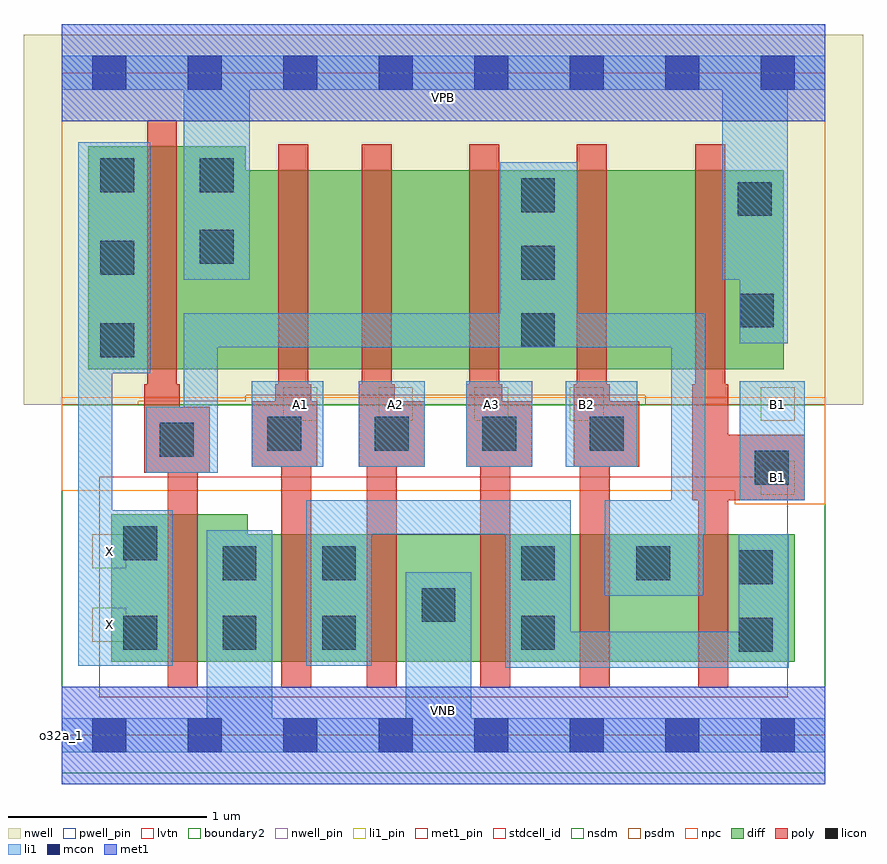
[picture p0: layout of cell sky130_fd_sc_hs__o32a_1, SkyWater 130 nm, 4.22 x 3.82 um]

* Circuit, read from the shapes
.subckt sky130_fd_sc_hs__o32a_1 A1 A2 A3 B1 B2 VGND VNB VPB VPWR X
XM1 VGND n1 X VNB sky130_fd_pr__nfet_01v8_lvt w=0.74 l=0.15
XM2 n2 A1 VGND VNB sky130_fd_pr__nfet_01v8_lvt w=0.64 l=0.15
XM3 VGND A2 n2 VNB sky130_fd_pr__nfet_01v8_lvt w=0.64 l=0.15
XM4 n2 A3 VGND VNB sky130_fd_pr__nfet_01v8_lvt w=0.64 l=0.15
XM5 n1 B2 n2 VNB sky130_fd_pr__nfet_01v8_lvt w=0.64 l=0.15
XM6 n2 B1 n1 VNB sky130_fd_pr__nfet_01v8_lvt w=0.64 l=0.15
XM7 VPWR n1 X VPB sky130_fd_pr__pfet_01v8 w=1.12 l=0.15
XM8 n3 A1 VPWR VPB sky130_fd_pr__pfet_01v8 w=1 l=0.15
XM9 n4 A2 n3 VPB sky130_fd_pr__pfet_01v8 w=1 l=0.15
XM10 n1 A3 n4 VPB sky130_fd_pr__pfet_01v8 w=1 l=0.15
XM11 n5 B2 n1 VPB sky130_fd_pr__pfet_01v8 w=1 l=0.15
XM12 VPWR B1 n5 VPB sky130_fd_pr__pfet_01v8 w=1 l=0.15
.ends

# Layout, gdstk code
import gdstk
lib = gdstk.Library(unit=1e-6, precision=1e-09)
def R(c, l, rs):  # rectangles x0, y0, x1, y1
    for r in rs: c.add(gdstk.rectangle(r[:2], r[2:], *l))
def A(c, l, x, y, w, h, nx, ny, dx, dy):  # array of equal rectangles
    R(c, l, [(x+i*dx, y+j*dy, x+i*dx+w, y+j*dy+h) for i in range(nx) for j in range(ny)])
def P(c, l, *ps):  # polygons
    for p in ps: c.add(gdstk.Polygon(p, *l))
nwell_pin = (64, 16)
nwell = (64, 20)
diff = (65, 20)
poly = (66, 20)
licon = (66, 44)
li1_pin = (67, 16)
li1 = (67, 20)
mcon = (67, 44)
met1_pin = (68, 16)
met1 = (68, 20)
stdcell_id = (81, 4)
nsdm = (93, 44)
psdm = (94, 20)
npc = (95, 20)
pwell_pin = (122, 16)
lvtn = (125, 44)
boundary2 = (236, 0)

sky130_fd_sc_hs__o32a_1 = lib.new_cell('sky130_fd_sc_hs__o32a_1')
R(sky130_fd_sc_hs__o32a_1, nwell_pin, [(0,3.085,3.84,3.33)])
R(sky130_fd_sc_hs__o32a_1, nwell, [(-0.19,1.66,4.03,3.52)])
P(sky130_fd_sc_hs__o32a_1, diff, [(3.63,2.84),(0.925,2.84),(0.925,2.96),(0.135,2.96),(0.135,1.84),(3.63,1.84)],
  [(3.685,1.01),(0.935,1.01),(0.935,1.11),(0.25,1.11),(0.25,0.37),(3.685,0.37)])
P(sky130_fd_sc_hs__o32a_1, poly, [(1.285,1.68),(1.255,1.68),(1.255,1.765),(1.24,1.765),(1.24,2.97),(1.09,2.97),(1.09,1.765),(1.075,1.765),(1.075,1.68),(0.955,1.68),(0.955,1.35),(1.105,1.35),(1.105,0.24),(1.255,0.24),(1.255,1.35),(1.285,1.35)],
  [(0.745,1.65),(0.595,1.65),(0.595,1.765),(0.58,1.765),(0.58,3.09),(0.43,3.09),(0.43,1.765),(0.415,1.765),(0.415,1.32),(0.535,1.32),(0.535,0.24),(0.685,0.24),(0.685,1.32),(0.745,1.32)],
  [(1.825,1.68),(1.675,1.68),(1.675,1.765),(1.66,1.765),(1.66,2.97),(1.51,2.97),(1.51,1.765),(1.495,1.765),(1.495,1.35),(1.535,1.35),(1.535,0.24),(1.685,0.24),(1.685,1.35),(1.825,1.35)],
  [(2.365,1.68),(2.215,1.68),(2.215,1.765),(2.2,1.765),(2.2,2.97),(2.05,2.97),(2.05,1.765),(2.035,1.765),(2.035,1.35),(2.105,1.35),(2.105,0.24),(2.255,0.24),(2.255,1.35),(2.365,1.35)],
  [(2.905,1.68),(2.755,1.68),(2.755,1.765),(2.74,1.765),(2.74,2.97),(2.59,2.97),(2.59,1.765),(2.575,1.765),(2.575,1.35),(2.605,1.35),(2.605,0.24),(2.755,0.24),(2.755,1.35),(2.905,1.35)],
  [(3.735,1.51),(3.35,1.51),(3.35,1.765),(3.335,1.765),(3.335,2.97),(3.185,2.97),(3.185,1.765),(3.17,1.765),(3.17,1.18),(3.2,1.18),(3.2,0.24),(3.35,0.24),(3.35,1.18),(3.735,1.18)])
A(sky130_fd_sc_hs__o32a_1, licon, 0.31, 0.43, 0.17, 0.17, 3, 1, 0.5, 0)
A(sky130_fd_sc_hs__o32a_1, licon, 1.035, 1.43, 0.17, 0.17, 4, 1, 0.54, 0)
A(sky130_fd_sc_hs__o32a_1, licon, 0.195, 1.9, 0.17, 0.17, 1, 3, 0, 0.415)
A(sky130_fd_sc_hs__o32a_1, licon, 2.31, 1.95, 0.17, 0.17, 1, 3, 0, 0.34)
R(sky130_fd_sc_hs__o32a_1, licon, [(3.405,0.42,3.575,0.59), (2.31,0.43,2.48,0.6), (1.81,0.57,1.98,0.74), (3.405,0.76,3.575,0.93), (0.81,0.78,0.98,0.95), (1.31,0.78,1.48,0.95), (2.31,0.78,2.48,0.95), (2.89,0.78,3.06,0.95), (0.31,0.88,0.48,1.05), (3.485,1.26,3.655,1.43), (0.495,1.4,0.665,1.57), (3.41,2.05,3.58,2.22), (0.695,2.37,0.865,2.54), (3.4,2.61,3.57,2.78), (0.695,2.73,0.865,2.9)])
A(sky130_fd_sc_hs__o32a_1, li1_pin, 1.115, 1.58, 0.17, 0.17, 4, 1, 0.48, 0)
R(sky130_fd_sc_hs__o32a_1, li1_pin, [(0.155,0.47,0.325,0.64), (0.155,0.84,0.325,1.01), (3.515,1.21,3.685,1.38), (3.515,1.58,3.685,1.75)])
R(sky130_fd_sc_hs__o32a_1, li1, [(3.41,1.18,3.735,1.78), (0.955,1.35,1.315,1.78), (1.495,1.35,1.825,1.78), (2.035,1.35,2.365,1.78), (2.535,1.35,2.895,1.78)])
P(sky130_fd_sc_hs__o32a_1, li1, [(0,-0.085),(0,0.085),(0.73,0.085),(0.73,1.03),(1.06,1.03),(1.06,0.085),(1.73,0.085),(1.73,0.82),(2.06,0.82),(2.06,0.085),(3.84,0.085),(3.84,-0.085)],
  [(3.84,3.415),(0,3.415),(0,3.245),(0.615,3.245),(0.615,2.29),(0.945,2.29),(0.945,3.245),(3.32,3.245),(3.32,2.29),(3.41,2.29),(3.41,1.97),(3.65,1.97),(3.65,3.245),(3.84,3.245)],
  [(0.085,0.35),(0.085,2.98),(0.445,2.98),(0.445,1.82),(0.255,1.82),(0.255,1.13),(0.56,1.13),(0.56,0.35)],
  [(2.73,0.7),(2.73,1.18),(3.065,1.18),(3.065,1.95),(0.785,1.95),(0.785,1.32),(0.425,1.32),(0.425,1.65),(0.615,1.65),(0.615,2.12),(2.205,2.12),(2.205,2.88),(2.595,2.88),(2.595,2.12),(3.235,2.12),(3.235,1.01),(3.225,1.01),(3.225,0.7)],
  [(2.23,0.34),(2.23,1.01),(1.56,1.01),(1.56,0.35),(1.23,0.35),(1.23,1.18),(2.56,1.18),(2.56,0.52),(3.405,0.52),(3.405,1.01),(3.655,1.01),(3.655,0.34)])
A(sky130_fd_sc_hs__o32a_1, mcon, 0.155, -0.085, 0.17, 0.17, 8, 2, 0.48, 3.33)
R(sky130_fd_sc_hs__o32a_1, met1_pin, [(0,0,3.84,0.245), (0,3.085,3.84,3.33)])
R(sky130_fd_sc_hs__o32a_1, met1, [(0,-0.245,3.84,0.245), (0,3.085,3.84,3.575)])
R(sky130_fd_sc_hs__o32a_1, stdcell_id, [(0,0,3.84,3.33)])
R(sky130_fd_sc_hs__o32a_1, nsdm, [(0,-0.19,3.84,1.66)])
P(sky130_fd_sc_hs__o32a_1, psdm, [(3.84,3.52),(0,3.52),(0,1.66),(0.385,1.66),(0.385,1.68),(0.925,1.68),(0.925,1.71),(2.935,1.71),(2.935,1.66),(3.84,1.66)])
P(sky130_fd_sc_hs__o32a_1, npc, [(3.84,1.7),(0,1.7),(0,1.23),(3.385,1.23),(3.385,1.16),(3.84,1.16)])
R(sky130_fd_sc_hs__o32a_1, pwell_pin, [(0,0,3.84,0.245)])
R(sky130_fd_sc_hs__o32a_1, lvtn, [(0.19,0.19,3.65,1.3)])
R(sky130_fd_sc_hs__o32a_1, boundary2, [(0,0,3.84,3.33)])
sky130_fd_sc_hs__o32a_1.add(gdstk.Label('o32a_1', (0,0), layer=83, texttype=44))
sky130_fd_sc_hs__o32a_1.add(gdstk.Label('VNB', (1.92,0.123), layer=64, texttype=59))
sky130_fd_sc_hs__o32a_1.add(gdstk.Label('VPB', (1.92,3.208), layer=64, texttype=5))
sky130_fd_sc_hs__o32a_1.add(gdstk.Label('VPWR', (1.92,3.208), layer=68, texttype=5))
sky130_fd_sc_hs__o32a_1.add(gdstk.Label('VGND', (1.92,0.123), layer=68, texttype=5))
sky130_fd_sc_hs__o32a_1.add(gdstk.Label('B1', (3.6,1.295), layer=67, texttype=5))
sky130_fd_sc_hs__o32a_1.add(gdstk.Label('B1', (3.6,1.665), layer=67, texttype=5))
sky130_fd_sc_hs__o32a_1.add(gdstk.Label('A1', (1.2,1.665), layer=67, texttype=5))
sky130_fd_sc_hs__o32a_1.add(gdstk.Label('A2', (1.68,1.665), layer=67, texttype=5))
sky130_fd_sc_hs__o32a_1.add(gdstk.Label('A3', (2.16,1.665), layer=67, texttype=5))
sky130_fd_sc_hs__o32a_1.add(gdstk.Label('B2', (2.64,1.665), layer=67, texttype=5))
sky130_fd_sc_hs__o32a_1.add(gdstk.Label('X', (0.24,0.555), layer=67, texttype=5))
sky130_fd_sc_hs__o32a_1.add(gdstk.Label('X', (0.24,0.925), layer=67, texttype=5))

lib.write_gds('sky130_fd_sc_hs__o32a_1.gds')
